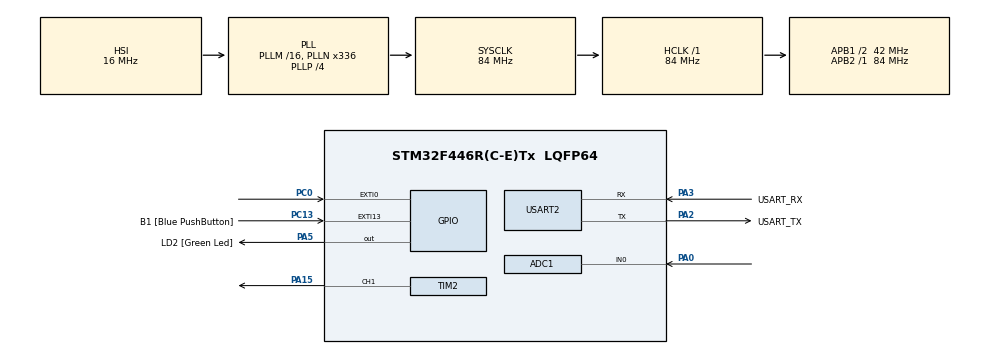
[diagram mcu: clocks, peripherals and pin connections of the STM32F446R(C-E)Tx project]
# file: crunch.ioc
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ADC1.Channel-0\#ChannelRegularConversion=ADC_CHANNEL_0
ADC1.ContinuousConvMode=ENABLE
ADC1.NbrOfConversionFlag=1
ADC1.Rank-0\#ChannelRegularConversion=1
ADC1.SamplingTime-0\#ChannelRegularConversion=ADC_SAMPLETIME_3CYCLES
ADC1.master=1
Dma.ADC1.0.Direction=DMA_PERIPH_TO_MEMORY
Dma.ADC1.0.FIFOMode=DMA_FIFOMODE_DISABLE
Dma.ADC1.0.Instance=DMA2_Stream0
Dma.ADC1.0.MemDataAlignment=DMA_MDATAALIGN_HALFWORD
Dma.ADC1.0.MemInc=DMA_MINC_ENABLE
Dma.ADC1.0.Mode=DMA_CIRCULAR
Dma.ADC1.0.PeriphDataAlignment=DMA_PDATAALIGN_HALFWORD
Dma.ADC1.0.PeriphInc=DMA_PINC_DISABLE
Dma.ADC1.0.Priority=DMA_PRIORITY_LOW
Dma.Request0=ADC1
Mcu.Family=STM32F4
Mcu.Name=STM32F446R(C-E)Tx
Mcu.Package=LQFP64
NVIC.ADC_IRQn=true\:0\:0\:false\:false\:true\:true\:true\:true
NVIC.DMA2_Stream0_IRQn=true\:0\:0\:false\:false\:true\:false\:true\:true
NVIC.EXTI15_10_IRQn=true\:0\:0\:false\:false\:true\:true\:true\:true
NVIC.PriorityGroup=NVIC_PRIORITYGROUP_0
NVIC.USART2_IRQn=true\:0\:0\:false\:false\:true\:true\:true\:true
PA0-WKUP.Signal=ADCx_IN0
PA13.GPIO_Label=TMS
PA13.Mode=Serial_Wire
PA13.Signal=SYS_JTMS-SWDIO
PA14.GPIO_Label=TCK
PA14.Mode=Serial_Wire
PA14.Signal=SYS_JTCK-SWCLK
PA15.Signal=S_TIM2_CH1_ETR
PA2.GPIO_Label=USART_TX
PA2.Mode=Asynchronous
PA2.Signal=USART2_TX
PA3.GPIO_Label=USART_RX
PA3.Mode=Asynchronous
PA3.Signal=USART2_RX
PA5.GPIO_Label=LD2 [Green Led]
PA5.Signal=GPIO_Output
PB3.GPIO_Label=SWO
PB3.Signal=SYS_JTDO-SWO
PC0.GPIO_ModeDefaultEXTI=GPIO_MODE_IT_RISING_FALLING
PC0.GPIO_PuPd=GPIO_PULLUP
PC0.Signal=GPXTI0
PC13.GPIO_Label=B1 [Blue PushButton]
PC13.GPIO_ModeDefaultEXTI=GPIO_MODE_IT_FALLING
PC13.Signal=GPXTI13
PC14-OSC32_IN.Mode=LSE-External-Oscillator
PC14-OSC32_IN.Signal=RCC_OSC32_IN
PC15-OSC32_OUT.Mode=LSE-External-Oscillator
PC15-OSC32_OUT.Signal=RCC_OSC32_OUT
PH0-OSC_IN.Mode=HSE-External-Oscillator
PH0-OSC_IN.Signal=RCC_OSC_IN
PH1-OSC_OUT.Mode=HSE-External-Oscillator
PH1-OSC_OUT.Signal=RCC_OSC_OUT
ProjectManager.HeapSize=0x200
ProjectManager.StackSize=0x400
ProjectManager.TargetToolchain=Makefile
RCC.48MHZClocksFreq_Value=84000000
RCC.AHBFreq_Value=84000000
RCC.APB1CLKDivider=RCC_HCLK_DIV2
RCC.APB1Freq_Value=42000000
RCC.APB1TimFreq_Value=84000000
RCC.APB2Freq_Value=84000000
RCC.APB2TimFreq_Value=84000000
RCC.CortexFreq_Value=84000000
RCC.FLatency-AdvancedSettings=FLASH_LATENCY_2
RCC.HCLKFreq_Value=84000000
RCC.HSE_VALUE=8000000
RCC.HSI_VALUE=16000000
RCC.PLLN=336
RCC.PLLP=RCC_PLLP_DIV4
RCC.SYSCLKFreq_VALUE=84000000
RCC.SYSCLKSource=RCC_SYSCLKSOURCE_PLLCLK
RCC.USBFreq_Value=168000000
RCC.VCOOutputFreq_Value=336000000
SH.ADCx_IN0.0=ADC1_IN0,IN0
SH.S_TIM2_CH1_ETR.0=TIM2_CH1,PWM Generation1 CH1
TIM2.Channel-PWM\ Generation1\ CH1=TIM_CHANNEL_1
TIM2.Period=19999
TIM2.Prescaler=8399
USART2.VirtualMode=VM_ASYNC
VP_TIM2_VS_ClockSourceINT.Mode=Internal
board=NUCLEO-F446RE

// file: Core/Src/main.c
/* USER CODE BEGIN Header */
/**
  ******************************************************************************
  * @file           : main.c
  * @brief          : Main program body
  ******************************************************************************
  * @attention
  *
  * Copyright (c) 2025 STMicroelectronics.
  * All rights reserved.
  *
  * This software is licensed under terms that can be found in the LICENSE file
  * in the root directory of this software component.
  * If no LICENSE file comes with this software, it is provided AS-IS.
  *
  ******************************************************************************
  */
/* USER CODE END Header */
#include "main.h"

/* USER CODE BEGIN Includes */
#include "state_machine.h"
#include "defines.h"
#include "cli.h"
#include "send.h"
/* USER CODE END Includes */

ADC_HandleTypeDef hadc1;
DMA_HandleTypeDef hdma_adc1;

TIM_HandleTypeDef htim2;

UART_HandleTypeDef huart2;

void SystemClock_Config(void);
static void MX_GPIO_Init(void);
static void MX_DMA_Init(void);
static void MX_USART2_UART_Init(void);
static void MX_TIM2_Init(void);
static void MX_ADC1_Init(void);

int main(void)
{

  /* USER CODE BEGIN 1 */
    sm_init(&htim2,&huart2);
  /* USER CODE END 1 */

  /* MCU Configuration--------------------------------------------------------*/

  /* Reset of all peripherals, Initializes the Flash interface and the Systick. */
  HAL_Init();

  /* Configure the system clock */
  SystemClock_Config();

  /* Initialize all configured peripherals */
  MX_GPIO_Init();
  MX_DMA_Init();
  MX_USART2_UART_Init();
  MX_TIM2_Init();
  MX_ADC1_Init();
  /* USER CODE BEGIN 2 */

    send_init(&huart2,&hadc1);
    cli_init(&huart2);
  /* USER CODE END 2 */

  /* Infinite loop */
  /* USER CODE BEGIN WHILE */
  sm_update(EVENT_NONE); // move from init to wait request
  while (1)
  {
      switch(currentState){
          case STATE_LISTENING:
              listening_handler();
              break;
          case STATE_WAIT_REQUEST:
              wait_request_handler();
              break;
          case STATE_PAUSE:
              pause_handler();
              break;
          case STATE_WARNING:
              warning_handler();
              break;
          case STATE_ERROR:
              Error_Handler();
              break;
      }
    /* USER CODE END WHILE */

  }
}

void SystemClock_Config(void)
{
  RCC_OscInitTypeDef RCC_OscInitStruct = {0};
  RCC_ClkInitTypeDef RCC_ClkInitStruct = {0};

  /** Configure the main internal regulator output voltage
  */
  __HAL_RCC_PWR_CLK_ENABLE();
  __HAL_PWR_VOLTAGESCALING_CONFIG(PWR_REGULATOR_VOLTAGE_SCALE3);

  /** Initializes the RCC Oscillators according to the specified parameters
  * in the RCC_OscInitTypeDef structure.
  */
  RCC_OscInitStruct.OscillatorType = RCC_OSCILLATORTYPE_HSI;
  RCC_OscInitStruct.HSIState = RCC_HSI_ON;
  RCC_OscInitStruct.HSICalibrationValue = RCC_HSICALIBRATION_DEFAULT;
  RCC_OscInitStruct.PLL.PLLState = RCC_PLL_ON;
  RCC_OscInitStruct.PLL.PLLSource = RCC_PLLSOURCE_HSI;
  RCC_OscInitStruct.PLL.PLLM = 16;
  RCC_OscInitStruct.PLL.PLLN = 336;
  RCC_OscInitStruct.PLL.PLLP = RCC_PLLP_DIV4;
  RCC_OscInitStruct.PLL.PLLQ = 2;
  RCC_OscInitStruct.PLL.PLLR = 2;
  if (HAL_RCC_OscConfig(&RCC_OscInitStruct) != HAL_OK)
  {
    Error_Handler();
  }

  /** Initializes the CPU, AHB and APB buses clocks
  */
  RCC_ClkInitStruct.ClockType = RCC_CLOCKTYPE_HCLK|RCC_CLOCKTYPE_SYSCLK
                              |RCC_CLOCKTYPE_PCLK1|RCC_CLOCKTYPE_PCLK2;
  RCC_ClkInitStruct.SYSCLKSource = RCC_SYSCLKSOURCE_PLLCLK;
  RCC_ClkInitStruct.AHBCLKDivider = RCC_SYSCLK_DIV1;
  RCC_ClkInitStruct.APB1CLKDivider = RCC_HCLK_DIV2;
  RCC_ClkInitStruct.APB2CLKDivider = RCC_HCLK_DIV1;

  if (HAL_RCC_ClockConfig(&RCC_ClkInitStruct, FLASH_LATENCY_2) != HAL_OK)
  {
    Error_Handler();
  }
}

static void MX_ADC1_Init(void)
{

  ADC_ChannelConfTypeDef sConfig = {0};

  /** Configure the global features of the ADC (Clock, Resolution, Data Alignment and number of conversion)
  */
  hadc1.Instance = ADC1;
  hadc1.Init.ClockPrescaler = ADC_CLOCK_SYNC_PCLK_DIV4;
  hadc1.Init.Resolution = ADC_RESOLUTION_12B;
  hadc1.Init.ScanConvMode = DISABLE;
  hadc1.Init.ContinuousConvMode = ENABLE;
  hadc1.Init.DiscontinuousConvMode = DISABLE;
  hadc1.Init.ExternalTrigConvEdge = ADC_EXTERNALTRIGCONVEDGE_NONE;
  hadc1.Init.ExternalTrigConv = ADC_SOFTWARE_START;
  hadc1.Init.DataAlign = ADC_DATAALIGN_RIGHT;
  hadc1.Init.NbrOfConversion = 1;
  hadc1.Init.DMAContinuousRequests = DISABLE;
  hadc1.Init.EOCSelection = ADC_EOC_SINGLE_CONV;
  if (HAL_ADC_Init(&hadc1) != HAL_OK)
  {
    Error_Handler();
  }

  /** Configure for the selected ADC regular channel its corresponding rank in the sequencer and its sample time.
  */
  sConfig.Channel = ADC_CHANNEL_0;
  sConfig.Rank = 1;
  sConfig.SamplingTime = ADC_SAMPLETIME_3CYCLES;
  if (HAL_ADC_ConfigChannel(&hadc1, &sConfig) != HAL_OK)
  {
    Error_Handler();
  }

}

static void MX_TIM2_Init(void)
{

  TIM_ClockConfigTypeDef sClockSourceConfig = {0};
  TIM_MasterConfigTypeDef sMasterConfig = {0};
  TIM_OC_InitTypeDef sConfigOC = {0};

  htim2.Instance = TIM2;
  htim2.Init.Prescaler = 8399;
  htim2.Init.CounterMode = TIM_COUNTERMODE_UP;
  htim2.Init.Period = 19999;
  htim2.Init.ClockDivision = TIM_CLOCKDIVISION_DIV1;
  htim2.Init.AutoReloadPreload = TIM_AUTORELOAD_PRELOAD_DISABLE;
  if (HAL_TIM_Base_Init(&htim2) != HAL_OK)
  {
    Error_Handler();
  }
  sClockSourceConfig.ClockSource = TIM_CLOCKSOURCE_INTERNAL;
  if (HAL_TIM_ConfigClockSource(&htim2, &sClockSourceConfig) != HAL_OK)
  {
    Error_Handler();
  }
  if (HAL_TIM_PWM_Init(&htim2) != HAL_OK)
  {
    Error_Handler();
  }
  sMasterConfig.MasterOutputTrigger = TIM_TRGO_RESET;
  sMasterConfig.MasterSlaveMode = TIM_MASTERSLAVEMODE_DISABLE;
  if (HAL_TIMEx_MasterConfigSynchronization(&htim2, &sMasterConfig) != HAL_OK)
  {
    Error_Handler();
  }
  sConfigOC.OCMode = TIM_OCMODE_PWM1;
  sConfigOC.Pulse = 0;
  sConfigOC.OCPolarity = TIM_OCPOLARITY_HIGH;
  sConfigOC.OCFastMode = TIM_OCFAST_DISABLE;
  if (HAL_TIM_PWM_ConfigChannel(&htim2, &sConfigOC, TIM_CHANNEL_1) != HAL_OK)
  {
    Error_Handler();
  }
  HAL_TIM_MspPostInit(&htim2);

}

static void MX_USART2_UART_Init(void)
{

  huart2.Instance = USART2;
  huart2.Init.BaudRate = 115200;
  huart2.Init.WordLength = UART_WORDLENGTH_8B;
  huart2.Init.StopBits = UART_STOPBITS_1;
  huart2.Init.Parity = UART_PARITY_NONE;
  huart2.Init.Mode = UART_MODE_TX_RX;
  huart2.Init.HwFlowCtl = UART_HWCONTROL_NONE;
  huart2.Init.OverSampling = UART_OVERSAMPLING_16;
  if (HAL_UART_Init(&huart2) != HAL_OK)
  {
    Error_Handler();
  }

}

static void MX_DMA_Init(void)
{

  /* DMA controller clock enable */
  __HAL_RCC_DMA2_CLK_ENABLE();

  /* DMA interrupt init */
  /* DMA2_Stream0_IRQn interrupt configuration */
  HAL_NVIC_SetPriority(DMA2_Stream0_IRQn, 0, 0);
  HAL_NVIC_EnableIRQ(DMA2_Stream0_IRQn);

}

static void MX_GPIO_Init(void)
{
  GPIO_InitTypeDef GPIO_InitStruct = {0};

  /* GPIO Ports Clock Enable */
  __HAL_RCC_GPIOC_CLK_ENABLE();
  __HAL_RCC_GPIOH_CLK_ENABLE();
  __HAL_RCC_GPIOA_CLK_ENABLE();
  __HAL_RCC_GPIOB_CLK_ENABLE();

  /*Configure GPIO pin Output Level */
  HAL_GPIO_WritePin(LD2_GPIO_Port, LD2_Pin, GPIO_PIN_RESET);

  /*Configure GPIO pin : B1_Pin */
  GPIO_InitStruct.Pin = B1_Pin;
  GPIO_InitStruct.Mode = GPIO_MODE_IT_FALLING;
  GPIO_InitStruct.Pull = GPIO_NOPULL;
  HAL_GPIO_Init(B1_GPIO_Port, &GPIO_InitStruct);

  /*Configure GPIO pin : PC0 */
  GPIO_InitStruct.Pin = GPIO_PIN_0;
  GPIO_InitStruct.Mode = GPIO_MODE_IT_RISING_FALLING;
  GPIO_InitStruct.Pull = GPIO_PULLUP;
  HAL_GPIO_Init(GPIOC, &GPIO_InitStruct);

  /*Configure GPIO pin : LD2_Pin */
  GPIO_InitStruct.Pin = LD2_Pin;
  GPIO_InitStruct.Mode = GPIO_MODE_OUTPUT_PP;
  GPIO_InitStruct.Pull = GPIO_NOPULL;
  GPIO_InitStruct.Speed = GPIO_SPEED_FREQ_LOW;
  HAL_GPIO_Init(LD2_GPIO_Port, &GPIO_InitStruct);

  /* EXTI interrupt init*/
  HAL_NVIC_SetPriority(EXTI15_10_IRQn, 0, 0);
  HAL_NVIC_EnableIRQ(EXTI15_10_IRQn);

}

/* USER CODE BEGIN 4 */
void HAL_GPIO_EXTI_Callback(uint16_t GPIO_Pin)
{
    if (GPIO_Pin == GPIO_PIN_0) {
        hall_state = HAL_GPIO_ReadPin(GPIOA, GPIO_PIN_0);
    } else if(GPIO_Pin == B1_Pin) {
        BspButtonState = BUTTON_PRESSED;
        sm_update(EVENT_BUTTON_PRESS);
  } else {
      __NOP();
  }
}
/*void HAL_ADC_ErrorCallback(ADC_HandleTypeDef *hadc) {
    Error_Handler();
}*/
void HAL_UART_ErrorCallback(UART_HandleTypeDef *huart) {
    Error_Handler();
}
/* USER CODE END 4 */

void Error_Handler(void)
{
  /* USER CODE BEGIN Error_Handler_Debug */
  /* User can add his own implementation to report the HAL error return state */
  Handle_Error();
  /* USER CODE END Error_Handler_Debug */
}
